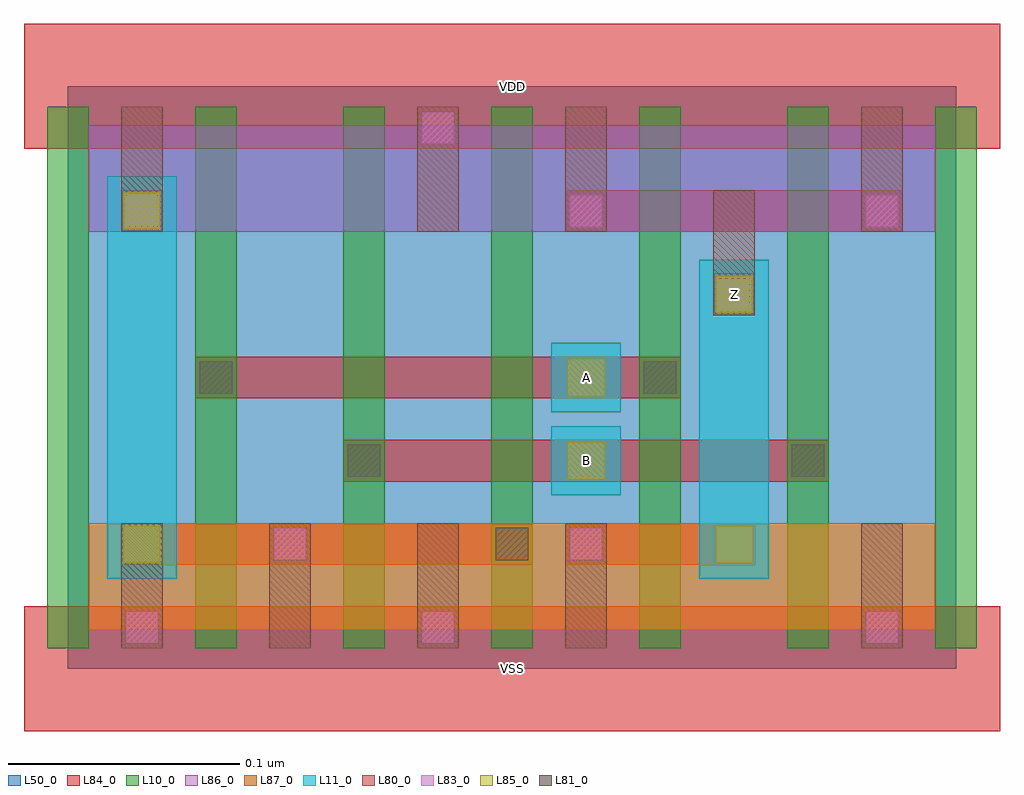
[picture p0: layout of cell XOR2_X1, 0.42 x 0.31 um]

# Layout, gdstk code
import gdstk
lib = gdstk.Library(unit=1e-6, precision=1e-09)
def R(c, l, rs):  # rectangles x0, y0, x1, y1
    for r in rs: c.add(gdstk.rectangle(r[:2], r[2:], *l))
def A(c, l, x, y, w, h, nx, ny, dx, dy):  # array of equal rectangles
    R(c, l, [(x+i*dx, y+j*dy, x+i*dx+w, y+j*dy+h) for i in range(nx) for j in range(ny)])
L10_0 = (10, 0)
L11_0 = (11, 0)
L50_0 = (50, 0)
L80_0 = (80, 0)
L81_0 = (81, 0)
L83_0 = (83, 0)
L84_0 = (84, 0)
L85_0 = (85, 0)
L86_0 = (86, 0)
L87_0 = (87, 0)

xor2_x1 = lib.new_cell('XOR2_X1')
A(xor2_x1, L10_0, -0.009, 0.009, 0.018, 0.234, 7, 1, 0.064, 0)
R(xor2_x1, L11_0, [(0.017,0.039,0.047,0.213), (0.273,0.039,0.303,0.177), (0.209,0.075,0.239,0.105), (0.209,0.111,0.239,0.141)])
R(xor2_x1, L50_0, [(0,0,0.384,0.252)])
A(xor2_x1, L80_0, 0.023, 0.009, 0.018, 0.054, 4, 1, 0.064, 0)
R(xor2_x1, L80_0, [(0.343,0.009,0.361,0.063), (0.279,0.153,0.297,0.207), (0.023,0.189,0.041,0.243), (0.151,0.189,0.169,0.243), (0.215,0.189,0.233,0.243), (0.343,0.189,0.361,0.243)])
R(xor2_x1, L81_0, [(0.185,0.047,0.199,0.061), (0.121,0.083,0.135,0.097), (0.313,0.083,0.327,0.097), (0.057,0.119,0.071,0.133), (0.249,0.119,0.263,0.133)])
R(xor2_x1, L83_0, [(0.025,0.011,0.039,0.025), (0.153,0.011,0.167,0.025), (0.345,0.011,0.359,0.025), (0.089,0.047,0.103,0.061), (0.217,0.047,0.231,0.061), (0.281,0.155,0.295,0.169), (0.025,0.191,0.039,0.205), (0.217,0.191,0.231,0.205), (0.345,0.191,0.359,0.205), (0.153,0.227,0.167,0.241)])
R(xor2_x1, L84_0, [(-0.019,-0.027,0.403,0.027), (0.023,0.045,0.201,0.063), (0.215,0.045,0.297,0.063), (0.119,0.081,0.329,0.099), (0.055,0.117,0.265,0.135), (0.279,0.153,0.297,0.171), (0.023,0.189,0.041,0.207), (0.215,0.189,0.361,0.207), (-0.019,0.225,0.403,0.279)])
R(xor2_x1, L85_0, [(0.024,0.046,0.04,0.062), (0.28,0.046,0.296,0.062), (0.216,0.082,0.232,0.098), (0.216,0.118,0.232,0.134), (0.28,0.154,0.296,0.17), (0.024,0.19,0.04,0.206)])
R(xor2_x1, L86_0, [(0.009,0.189,0.375,0.235)])
R(xor2_x1, L87_0, [(0.009,0.017,0.375,0.063)])
xor2_x1.add(gdstk.Label('VDD', (0.192,0.252), layer=88, texttype=0))
xor2_x1.add(gdstk.Label('VSS', (0.192,0), layer=88, texttype=0))
xor2_x1.add(gdstk.Label('Z', (0.288,0.162), layer=31, texttype=0))
xor2_x1.add(gdstk.Label('B', (0.224,0.09), layer=31, texttype=0))
xor2_x1.add(gdstk.Label('A', (0.224,0.126), layer=31, texttype=0))

lib.write_gds('XOR2_X1.gds')
